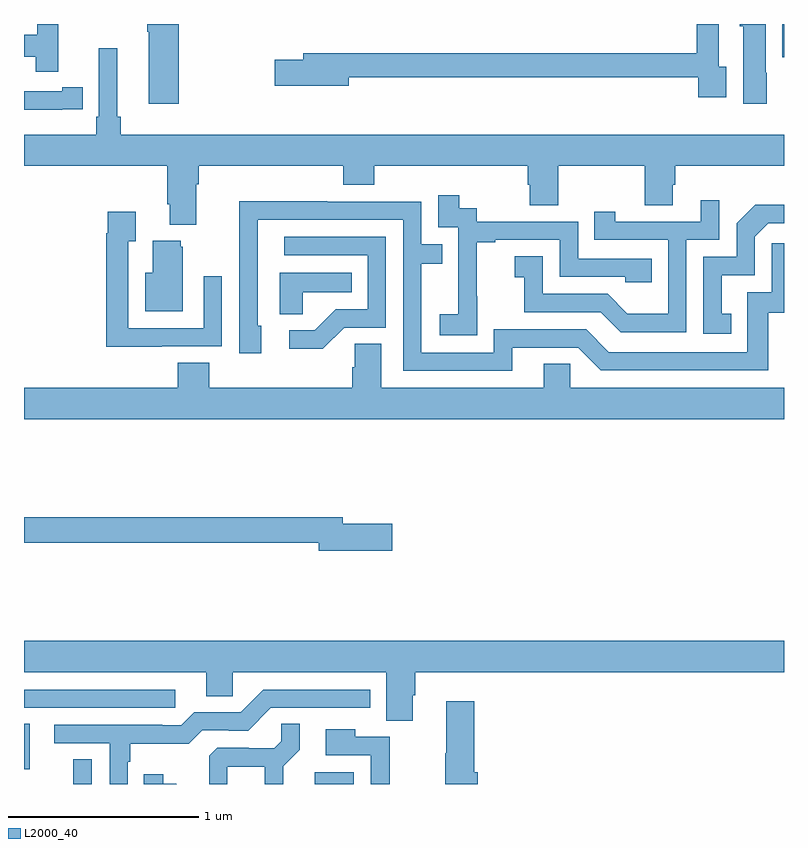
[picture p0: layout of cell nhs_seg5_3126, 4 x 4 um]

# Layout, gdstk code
import gdstk
lib = gdstk.Library(unit=1e-6, precision=1e-09)
def R(c, l, rs):  # rectangles x0, y0, x1, y1
    for r in rs: c.add(gdstk.rectangle(r[:2], r[2:], *l))
def P(c, l, *ps):  # polygons
    for p in ps: c.add(gdstk.Polygon(p, *l))
L2000_40 = (2000, 40)

nhs_seg5_3126 = lib.new_cell('nhs_seg5_3126')
R(nhs_seg5_3126, L2000_40, [(291.259,894.799,291.357,894.929), (292.529,894.799,292.735,894.862), (291,894.876,291.031,895.115), (291,895.2,291.796,895.296), (294.992,898.623,295,898.799)])
P(nhs_seg5_3126, L2000_40, [(291.815,898.799),(291.649,898.799),(291.649,898.759),(291.656,898.759),(291.656,898.38),(291.815,898.38)],
  [(294.697,898.574),(294.657,898.574),(294.657,898.799),(294.541,898.799),(294.541,898.646),(292.469,898.646),(292.469,898.61),(292.32,898.61),(292.32,898.475),(292.708,898.475),(292.708,898.518),(294.549,898.518),(294.549,898.413),(294.697,898.413)],
  [(294.91,898.542),(294.904,898.542),(294.904,898.799),(294.767,898.799),(294.767,898.788),(294.785,898.788),(294.785,898.38),(294.91,898.38)],
  [(291.179,898.799),(291.069,898.799),(291.069,898.742),(291,898.742),(291,898.626),(291.061,898.626),(291.061,898.548),(291.179,898.548)],
  [(291.907,897.956),(291.92,897.956),(291.92,898.052),(292.679,898.052),(292.679,897.953),(292.844,897.953),(292.844,898.052),(293.651,898.052),(293.651,897.954),(293.663,897.954),(293.663,897.844),(293.811,897.844),(293.811,898.052),(294.268,898.052),(294.268,897.844),(294.415,897.844),(294.415,897.954),(294.428,897.954),(294.428,898.052),(295,898.052),(295,898.216),(291.509,898.216),(291.509,898.312),(291.49,898.312),(291.49,898.672),(291.393,898.672),(291.393,898.312),(291.38,898.312),(291.38,898.216),(291,898.216),(291,898.052),(291.755,898.052),(291.755,897.85),(291.767,897.85),(291.767,897.743),(291.907,897.743)],
  [(291.2,898.35),(291.308,898.35),(291.308,898.466),(291.2,898.466),(291.2,898.446),(291,898.446),(291,898.349),(291.2,898.349)],
  [(293.385,897.367),(293.384,897.367),(293.384,897.651),(293.479,897.651),(293.479,897.663),(293.82,897.663),(293.82,897.468),(294.165,897.468),(294.165,897.441),(294.305,897.441),(294.305,897.564),(293.916,897.564),(293.916,897.759),(293.382,897.759),(293.382,897.828),(293.29,897.828),(293.29,897.898),(293.181,897.898),(293.181,897.729),(293.286,897.729),(293.286,897.5),(293.285,897.5),(293.285,897.271),(293.187,897.271),(293.187,897.161),(293.385,897.161)],
  [(294.486,897.663),(294.66,897.663),(294.66,897.871),(294.563,897.871),(294.563,897.759),(294.112,897.759),(294.112,897.811),(294.001,897.811),(294.001,897.663),(294.39,897.663),(294.39,897.274),(294.176,897.274),(294.072,897.378),(293.73,897.378),(293.73,897.577),(293.583,897.577),(293.583,897.467),(293.632,897.467),(293.632,897.282),(294.035,897.282),(294.14,897.177),(294.486,897.177)],
  [(293.569,897.096),(293.916,897.096),(294.036,896.976),(294.916,896.976),(294.916,897.279),(295,897.279),(295,897.646),(294.936,897.646),(294.936,897.387),(294.807,897.387),(294.807,897.072),(294.078,897.072),(293.958,897.192),(293.472,897.192),(293.472,897.069),(293.091,897.069),(293.091,897.538),(293.201,897.538),(293.201,897.639),(293.091,897.639),(293.091,897.864),(292.595,897.864),(292.595,897.866),(292.132,897.866),(292.132,897.559),(292.134,897.559),(292.134,897.066),(292.249,897.066),(292.249,897.21),(292.23,897.21),(292.23,897.768),(292.995,897.768),(292.995,896.973),(293.569,896.973)],
  [(294.722,897.273),(294.673,897.273),(294.673,897.477),(294.846,897.477),(294.846,897.678),(294.918,897.75),(295,897.75),(295,897.848),(294.848,897.848),(294.75,897.75),(294.75,897.573),(294.576,897.573),(294.576,897.168),(294.722,897.168)],
  [(291.725,897.102),(292.041,897.102),(292.041,897.472),(291.945,897.472),(291.945,897.198),(291.549,897.198),(291.549,897.655),(291.589,897.655),(291.589,897.811),(291.441,897.811),(291.441,897.698),(291.433,897.698),(291.433,897.101),(291.725,897.101)],
  [(292.686,897.201),(292.905,897.201),(292.905,897.678),(292.371,897.678),(292.371,897.582),(292.809,897.582),(292.809,897.297),(292.64,897.297),(292.529,897.186),(292.395,897.186),(292.395,897.089),(292.573,897.089)],
  [(291.835,897.627),(291.824,897.627),(291.824,897.658),(291.677,897.658),(291.677,897.49),(291.638,897.49),(291.638,897.287),(291.835,897.287)],
  [(292.467,897.386),(292.724,897.386),(292.724,897.49),(292.346,897.49),(292.346,897.271),(292.467,897.271)],
  [(295,896.884),(293.874,896.884),(293.874,897.011),(293.735,897.011),(293.735,896.884),(292.879,896.884),(292.879,897.116),(292.74,897.116),(292.74,896.993),(292.727,896.993),(292.727,896.884),(291.974,896.884),(291.974,897.017),(291.809,897.017),(291.809,896.884),(291,896.884),(291,896.72),(295,896.72)],
  [(292.939,896.168),(292.678,896.168),(292.678,896.204),(291,896.204),(291,896.068),(292.55,896.068),(292.55,896.026),(292.939,896.026)],
  [(293.047,895.266),(293.06,895.266),(293.06,895.388),(295,895.388),(295,895.552),(291,895.552),(291,895.388),(291.959,895.388),(291.959,895.261),(292.098,895.261),(292.098,895.388),(292.907,895.388),(292.907,895.132),(293.047,895.132)],
  [(291.546,894.917),(291.559,894.917),(291.559,895.01),(291.866,895.01),(291.939,895.083),(292.078,895.083),(292.078,895.08),(292.179,895.08),(292.299,895.2),(292.822,895.2),(292.822,895.296),(292.26,895.296),(292.14,895.176),(291.897,895.176),(291.828,895.107),(291.728,895.107),(291.728,895.11),(291.159,895.11),(291.159,895.014),(291.45,895.014),(291.45,894.799),(291.546,894.799)],
  [(293.387,894.861),(293.369,894.861),(293.369,895.234),(293.222,895.234),(293.222,894.961),(293.216,894.961),(293.216,894.799),(293.387,894.799)],
  [(292.07,894.89),(292.268,894.89),(292.268,894.799),(292.365,894.799),(292.365,894.893),(292.451,894.979),(292.451,895.115),(292.353,895.115),(292.353,895.024),(292.316,894.987),(292.182,894.987),(292.182,894.99),(292.017,894.99),(291.976,894.949),(291.976,894.799),(292.07,894.799)],
  [(292.925,895.047),(292.743,895.047),(292.743,895.087),(292.587,895.087),(292.587,894.951),(292.824,894.951),(292.824,894.799),(292.925,894.799)],
  [(291.802,894.8),(291.732,894.8),(291.732,894.85),(291.631,894.85),(291.631,894.799),(291.803,894.799)])

lib.write_gds('nhs_seg5_3126.gds')
